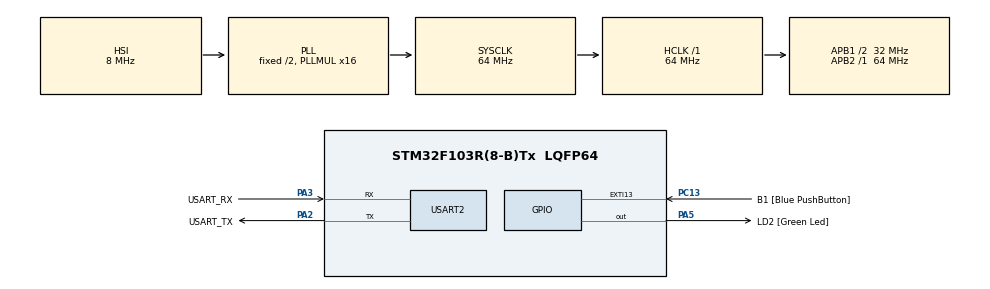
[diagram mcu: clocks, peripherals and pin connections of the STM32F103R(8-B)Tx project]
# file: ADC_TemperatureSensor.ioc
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ADC1.Channel-0\#ChannelRegularConversion=ADC_CHANNEL_TEMPSENSOR
ADC1.ContinuousConvMode=ENABLE
ADC1.NbrOfConversionFlag=1
ADC1.Rank-0\#ChannelRegularConversion=1
ADC1.SamplingTime-0\#ChannelRegularConversion=ADC_SAMPLETIME_13CYCLES_5
ADC1.master=1
Mcu.Family=STM32F1
Mcu.Name=STM32F103R(8-B)Tx
Mcu.Package=LQFP64
NVIC.EXTI15_10_IRQn=true\:0\:0\:false\:false\:true\:true\:true
NVIC.PriorityGroup=NVIC_PRIORITYGROUP_4
PA13.GPIO_Label=TMS
PA13.Mode=Serial_Wire
PA13.Signal=SYS_JTMS-SWDIO
PA14.GPIO_Label=TCK
PA14.Mode=Serial_Wire
PA14.Signal=SYS_JTCK-SWCLK
PA2.GPIO_Label=USART_TX
PA2.GPIO_Mode=GPIO_MODE_AF_PP
PA2.GPIO_PuPd=GPIO_NOPULL
PA2.GPIO_Speed=GPIO_SPEED_FREQ_LOW
PA2.Mode=Asynchronous
PA2.Signal=USART2_TX
PA3.GPIO_Label=USART_RX
PA3.GPIO_Mode=GPIO_MODE_AF_PP
PA3.GPIO_PuPd=GPIO_NOPULL
PA3.GPIO_Speed=GPIO_SPEED_FREQ_LOW
PA3.Mode=Asynchronous
PA3.Signal=USART2_RX
PA5.GPIO_Label=LD2 [Green Led]
PA5.GPIO_ModeDefaultOutputPP=GPIO_MODE_OUTPUT_PP
PA5.GPIO_PuPd=GPIO_NOPULL
PA5.GPIO_Speed=GPIO_SPEED_FREQ_LOW
PA5.Signal=GPIO_Output
PB3.GPIO_Label=SWO
PB3.Signal=SYS_JTDO-TRACESWO
PC13-TAMPER-RTC.GPIO_Label=B1 [Blue PushButton]
PC13-TAMPER-RTC.GPIO_PuPd=GPIO_NOPULL
PC13-TAMPER-RTC.Signal=GPXTI13
PC14-OSC32_IN.Signal=RCC_OSC32_IN
PC15-OSC32_OUT.Signal=RCC_OSC32_OUT
PD0-OSC_IN.Signal=RCC_OSC_IN
PD1-OSC_OUT.Signal=RCC_OSC_OUT
ProjectManager.HeapSize=0x200
ProjectManager.StackSize=0x400
ProjectManager.TargetToolchain=STM32CubeIDE
RCC.ADCPresc=RCC_ADCPCLK2_DIV8
RCC.AHBFreq_Value=64000000
RCC.APB1CLKDivider=RCC_HCLK_DIV2
RCC.APB1Freq_Value=32000000
RCC.APB1TimFreq_Value=64000000
RCC.APB2Freq_Value=64000000
RCC.APB2TimFreq_Value=64000000
RCC.HCLKFreq_Value=64000000
RCC.PLLMUL=RCC_PLL_MUL16
RCC.RTCClockSelection=RCC_RTCCLKSOURCE_LSE
RCC.SYSCLKFreq_VALUE=64000000
RCC.SYSCLKSource=RCC_SYSCLKSOURCE_PLLCLK
RCC.USBFreq_Value=64000000
USART2.VirtualMode=VM_ASYNC
VP_ADC1_TempSens_Input.Mode=IN-TempSens
board=NUCLEO-F103RB

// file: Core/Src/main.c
/* USER CODE BEGIN Header */
/**
  ******************************************************************************
  * @file           : main.c
  * @brief          : Main program body
  ******************************************************************************
  * @attention
  *
  * <h2><center>&copy; Copyright (c) 2021 STMicroelectronics.
  * All rights reserved.</center></h2>
  *
  * This software component is licensed by ST under BSD 3-Clause license,
  * the "License"; You may not use this file except in compliance with the
  * License. You may obtain a copy of the License at:
  *                        opensource.org/licenses/BSD-3-Clause
  *
  ******************************************************************************
  */
/* USER CODE END Header */
#include "main.h"

/* USER CODE BEGIN Includes */
#include <stdio.h>
/* USER CODE END Includes */

ADC_HandleTypeDef hadc1;

UART_HandleTypeDef huart2;

/* USER CODE BEGIN PV */
const float AVG_SLOPE = 4.3E-03;
const float V25 = 1.43;
const float ADC_TO_VOLT = 3.3 / 4096;

/* USER CODE END PV */

void SystemClock_Config(void);
static void MX_GPIO_Init(void);
static void MX_USART2_UART_Init(void);
static void MX_ADC1_Init(void);

/* USER CODE BEGIN 0 */
#ifdef __GNUC__
#define PUTCHAR_PROTOTYPE int __io_putchar(int ch)
#else
#define PUTCHAR_PROTOTYPE int fputc(int ch,FILE *f)
#endif

PUTCHAR_PROTOTYPE
{
	if (ch == '\n')
		HAL_UART_Transmit (&huart2, (uint8_t*) "\r", 1, 0xFFFF);
	HAL_UART_Transmit (&huart2, (uint8_t*) &ch, 1, 0xFFFF);
	return ch;
}
/* USER CODE END 0 */

int main(void)
{

  /* MCU Configuration--------------------------------------------------------*/

  /* Reset of all peripherals, Initializes the Flash interface and the Systick. */
  HAL_Init();

  /* Configure the system clock */
  SystemClock_Config();

  /* Initialize all configured peripherals */
  MX_GPIO_Init();
  MX_USART2_UART_Init();
  MX_ADC1_Init();

  /* Infinite loop */
  /* USER CODE BEGIN WHILE */
  /* Start calibration */
  if (HAL_ADCEx_Calibration_Start (&hadc1) != HAL_OK)
  {
	  Error_Handler();
  }

  /* start the conversion process */
  if (HAL_ADC_Start (&hadc1) != HAL_OK)
  {
	  Error_Handler();
  }
  uint16_t adc1;

  float vSense;
  float temp;

  while (1)
  {
	  HAL_ADC_PollForConversion (&hadc1, 100);
	  	  adc1 = HAL_ADC_GetValue (&hadc1);
	  	  //printf("ADC1_value: %d \n", adc1);

	  	  vSense = adc1 * ADC_TO_VOLT;
	  	  temp = (V25 - vSense) / AVG_SLOPE + 25.0;
	  	  printf ("temperature: %d, %f \n", adc1, temp);
    /* USER CODE END WHILE */

    /* USER CODE BEGIN 3 */
	  	  HAL_Delay(100);
  }
  /* USER CODE END 3 */
}

void SystemClock_Config(void)
{
  RCC_OscInitTypeDef RCC_OscInitStruct = {0};
  RCC_ClkInitTypeDef RCC_ClkInitStruct = {0};
  RCC_PeriphCLKInitTypeDef PeriphClkInit = {0};

  /** Initializes the RCC Oscillators according to the specified parameters
  * in the RCC_OscInitTypeDef structure.
  */
  RCC_OscInitStruct.OscillatorType = RCC_OSCILLATORTYPE_HSI;
  RCC_OscInitStruct.HSIState = RCC_HSI_ON;
  RCC_OscInitStruct.HSICalibrationValue = RCC_HSICALIBRATION_DEFAULT;
  RCC_OscInitStruct.PLL.PLLState = RCC_PLL_ON;
  RCC_OscInitStruct.PLL.PLLSource = RCC_PLLSOURCE_HSI_DIV2;
  RCC_OscInitStruct.PLL.PLLMUL = RCC_PLL_MUL16;
  if (HAL_RCC_OscConfig(&RCC_OscInitStruct) != HAL_OK)
  {
    Error_Handler();
  }
  /** Initializes the CPU, AHB and APB buses clocks
  */
  RCC_ClkInitStruct.ClockType = RCC_CLOCKTYPE_HCLK|RCC_CLOCKTYPE_SYSCLK
                              |RCC_CLOCKTYPE_PCLK1|RCC_CLOCKTYPE_PCLK2;
  RCC_ClkInitStruct.SYSCLKSource = RCC_SYSCLKSOURCE_PLLCLK;
  RCC_ClkInitStruct.AHBCLKDivider = RCC_SYSCLK_DIV1;
  RCC_ClkInitStruct.APB1CLKDivider = RCC_HCLK_DIV2;
  RCC_ClkInitStruct.APB2CLKDivider = RCC_HCLK_DIV1;

  if (HAL_RCC_ClockConfig(&RCC_ClkInitStruct, FLASH_LATENCY_2) != HAL_OK)
  {
    Error_Handler();
  }
  PeriphClkInit.PeriphClockSelection = RCC_PERIPHCLK_ADC;
  PeriphClkInit.AdcClockSelection = RCC_ADCPCLK2_DIV8;
  if (HAL_RCCEx_PeriphCLKConfig(&PeriphClkInit) != HAL_OK)
  {
    Error_Handler();
  }
}

static void MX_ADC1_Init(void)
{

  ADC_ChannelConfTypeDef sConfig = {0};

  /** Common config
  */
  hadc1.Instance = ADC1;
  hadc1.Init.ScanConvMode = ADC_SCAN_DISABLE;
  hadc1.Init.ContinuousConvMode = ENABLE;
  hadc1.Init.DiscontinuousConvMode = DISABLE;
  hadc1.Init.ExternalTrigConv = ADC_SOFTWARE_START;
  hadc1.Init.DataAlign = ADC_DATAALIGN_RIGHT;
  hadc1.Init.NbrOfConversion = 1;
  if (HAL_ADC_Init(&hadc1) != HAL_OK)
  {
    Error_Handler();
  }
  /** Configure Regular Channel
  */
  sConfig.Channel = ADC_CHANNEL_TEMPSENSOR;
  sConfig.Rank = ADC_REGULAR_RANK_1;
  sConfig.SamplingTime = ADC_SAMPLETIME_13CYCLES_5;
  if (HAL_ADC_ConfigChannel(&hadc1, &sConfig) != HAL_OK)
  {
    Error_Handler();
  }

}

static void MX_USART2_UART_Init(void)
{

  huart2.Instance = USART2;
  huart2.Init.BaudRate = 115200;
  huart2.Init.WordLength = UART_WORDLENGTH_8B;
  huart2.Init.StopBits = UART_STOPBITS_1;
  huart2.Init.Parity = UART_PARITY_NONE;
  huart2.Init.Mode = UART_MODE_TX_RX;
  huart2.Init.HwFlowCtl = UART_HWCONTROL_NONE;
  huart2.Init.OverSampling = UART_OVERSAMPLING_16;

  if (HAL_UART_Init(&huart2) != HAL_OK)
  {
    Error_Handler();
  }

}

static void MX_GPIO_Init(void)
{
  GPIO_InitTypeDef GPIO_InitStruct = {0};

  /* GPIO Ports Clock Enable */
  __HAL_RCC_GPIOC_CLK_ENABLE();
  __HAL_RCC_GPIOD_CLK_ENABLE();
  __HAL_RCC_GPIOA_CLK_ENABLE();
  __HAL_RCC_GPIOB_CLK_ENABLE();

  /*Configure GPIO pin Output Level */
  HAL_GPIO_WritePin(LD2_GPIO_Port, LD2_Pin, GPIO_PIN_RESET);

  /*Configure GPIO pin : B1_Pin */
  GPIO_InitStruct.Pin = B1_Pin;
  GPIO_InitStruct.Mode = GPIO_MODE_IT_RISING;
  GPIO_InitStruct.Pull = GPIO_NOPULL;
  HAL_GPIO_Init(B1_GPIO_Port, &GPIO_InitStruct);

  /*Configure GPIO pin : LD2_Pin */
  GPIO_InitStruct.Pin = LD2_Pin;
  GPIO_InitStruct.Mode = GPIO_MODE_OUTPUT_PP;
  GPIO_InitStruct.Pull = GPIO_NOPULL;
  GPIO_InitStruct.Speed = GPIO_SPEED_FREQ_LOW;
  HAL_GPIO_Init(LD2_GPIO_Port, &GPIO_InitStruct);

  /* EXTI interrupt init*/
  HAL_NVIC_SetPriority(EXTI15_10_IRQn, 0, 0);
  HAL_NVIC_EnableIRQ(EXTI15_10_IRQn);

}

void Error_Handler(void)
{
  __disable_irq();
  while (1)
  {
  }
}

/************************ (C) COPYRIGHT STMicroelectronics *****END OF FILE****/
